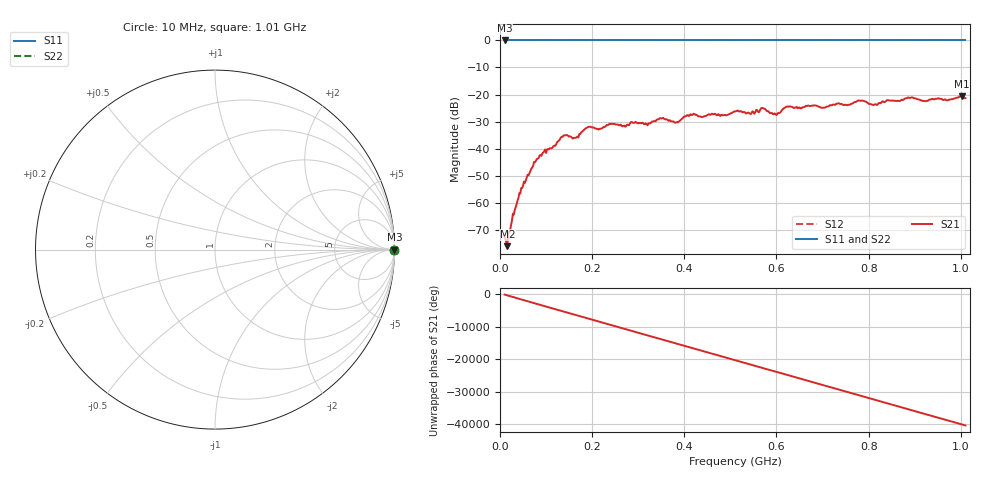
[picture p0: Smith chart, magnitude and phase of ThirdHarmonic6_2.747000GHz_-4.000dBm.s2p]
! 8/17/2025 6:50:55 AM
! C:\ANRITSUVNA\TEMP\TEMP.S2P
! CHANNEL.1
! TR.MEASUREMENT
! RAW.DATA
! RF.CORRECTION.OFF
! AVERAGING.OFF
! IF.BANDWIDTH: 5KHZ
! SWEEPTYPE:  FREQ.SWEEP(Linear)
! Reference Plane Port Info
! PORT:  PORT1  PORT2
! DISTANCE:  0  m  0  m
! TIME:  0  s  0  s
! PHASE.OFFSET:  0  deg.  0  deg.
! LOSS:  0  dB  0  dB
! REF.LOSS:  0  dB  0  dB
! REF.FREQ:  0  Hz  0  Hz
! Power Info
! POWER:  -20  dBm  -20  dBm
! EFF.POWER:  -20  dBm  -20  dBm
! SOURCE.ATTEN:  0  dB  0  dB
! TEST.ATTEN:  0  dB  0  dB
# GHZ S RI R 50.0
! FREQ.GHZ  S11RE  S11IM  S21RE  S21IM  S12RE  S12IM  S22RE  S22IM
!; PortSelection: Port_12
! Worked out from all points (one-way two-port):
!   501 points, 10 MHz to 1.01 GHz, reference 50 ohm
!   highest |S21| = -20.70 dB at 1.002 GHz (marker M1); lowest = -76.1 dB at 16 MHz (marker M2)
!   lowest |S11| = 0.0 dB at 10 MHz (marker M3)
!   |S11| at or under -10 dB: nowhere
!   |S22| runs from 0.0 to 0.0 dB; largest |S21 - S12| = 1.1
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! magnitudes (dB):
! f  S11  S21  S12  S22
! 10 MHz  0.0  -72.7  0.0  0.0
! 16 MHz  0.0  -76.1  0.0  0.0
! 42 MHz  0.0  -56.4  0.0  0.0
! 78 MHz  0.0  -44.5  0.0  0.0
! 136 MHz  0.0  -35.6  0.0  0.0
! 162 MHz  0.0  -36.0  0.0  0.0
! 178 MHz  0.0  -33.7  0.0  0.0
! 192 MHz  0.0  -32.0  0.0  0.0
! 318 MHz  0.0  -30.9  0.0  0.0
! 344 MHz  0.0  -29.2  0.0  0.0
! 382 MHz  0.0  -30.4  0.0  0.0
! 416 MHz  0.0  -27.6  0.0  0.0
! 510 MHz  0.0  -26.3  0.0  0.0
! 542 MHz  0.0  -27.0  0.0  0.0
! 570 MHz  0.0  -25.0  0.0  0.0
! 598 MHz  0.0  -27.2  0.0  0.0
! 624 MHz  0.0  -24.4  0.0  0.0
! 678 MHz  0.0  -24.0  0.0  0.0
! 814 MHz  0.0  -23.6  0.0  0.0
! 844 MHz  0.0  -22.2  0.0  0.0
! 1.002 GHz  0.0  -20.7  0.0  0.0
! 1.01 GHz  0.0  -21.3  0.0  0.0
